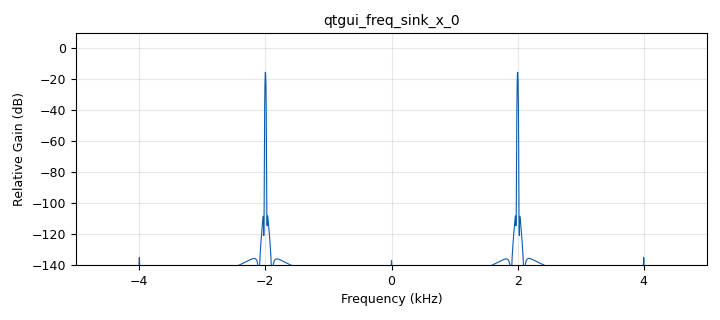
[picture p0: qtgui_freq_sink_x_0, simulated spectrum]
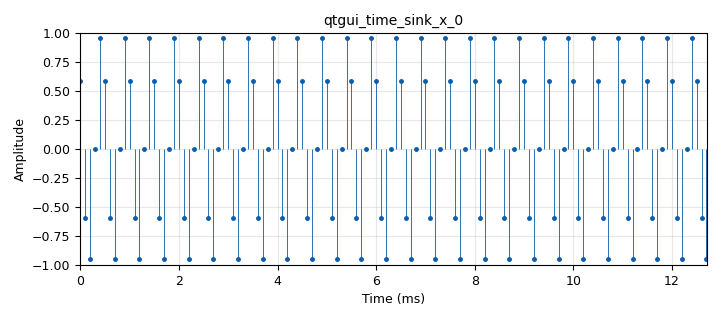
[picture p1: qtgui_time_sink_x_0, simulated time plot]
options:
  parameters:
    author: Kevin_Rueda_Dana_Cotes_B1B_G2
    generate_options: qt_gui
    id: lab1
    output_language: python
    title: Punto5
  states: {}

blocks:
- name: freq
  id: variable_qtgui_range
  parameters:
    label: frequency
    start: '1000'
    step: '1000'
    stop: '40000'
    value: '2000'
  states: {}
- name: frequency
  id: variable
  parameters:
    value: '4500'
  states: {state: disabled}
- name: samp_rate
  id: variable
  parameters:
    value: '32000'
  states: {state: disabled}
- name: samp_rate
  id: variable_qtgui_range
  parameters:
    label: freq de muestreo
    start: '1000'
    step: '1000'
    stop: '80000'
    value: '10000'
  states: {}
- name: analog_sig_source_x_0
  id: analog_sig_source_x
  parameters:
    amp: '1'
    freq: freq
    offset: '0'
    phase: '0'
    samp_rate: samp_rate
    type: float
    waveform: analog.GR_SIN_WAVE
  states: {}
- name: blocks_throttle_0
  id: blocks_throttle
  parameters:
    samples_per_second: samp_rate
    type: float
  states: {}
- name: qtgui_freq_sink_x_0
  id: qtgui_freq_sink_x
  parameters:
    average: '0.1'
    bw: samp_rate
    fc: '0'
    fftsize: '2048'
    type: float
  states: {}
- name: qtgui_time_sink_x_0
  id: qtgui_time_sink_x
  parameters:
    size: '128'
    srate: samp_rate
    stemplot: 'True'
    type: float
  states: {}

connections:
- [analog_sig_source_x_0, '0', blocks_throttle_0, '0']
- [blocks_throttle_0, '0', qtgui_freq_sink_x_0, '0']
- [blocks_throttle_0, '0', qtgui_time_sink_x_0, '0']

metadata:
  file_format: 1
  grc_version: 3.9.8.0
